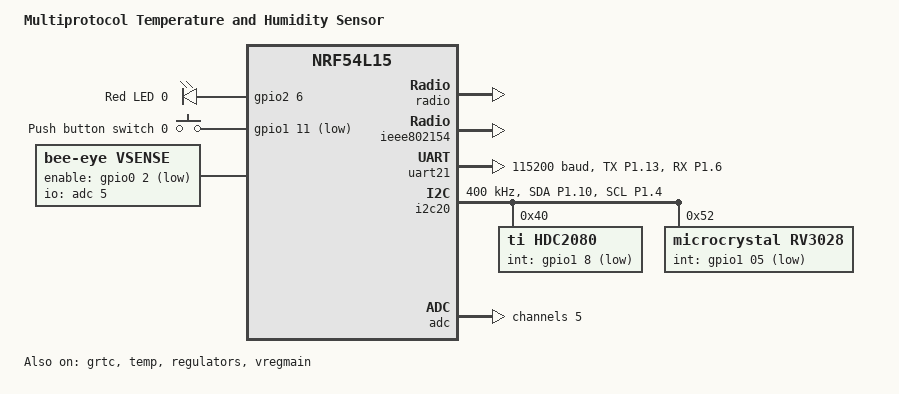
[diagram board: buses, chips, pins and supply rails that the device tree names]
/dts-v1/;
#include <nordic/nrf54l15_cpuapp.dtsi>
#include "MPsensor-pinctrl.dtsi"

/ {
	model = "Multiprotocol Temperature and Humidity Sensor";
	compatible = "bee-eye,MPsensor-cpuapp";

	chosen {
		zephyr,console = &uart21;
		zephyr,code-partition = &slot0_partition;
		zephyr,sram = &cpuapp_sram;
		zephyr,flash = &cpuapp_rram;
		zephyr,flash-controller = &rram_controller;
	};

	leds {
		compatible = "gpio-leds";

		led0: led_0 {
			gpios = <&gpio2 6 GPIO_ACTIVE_HIGH>;
			label = "Red LED 0";
		};
	};

	buttons {
		compatible = "gpio-keys";

		button0: button_0 {
			gpios = <&gpio1 11 GPIO_ACTIVE_LOW>; // External pull-up
			label = "Push button switch 0";
			zephyr,code = <INPUT_KEY_0>;
		};
	};

	vsense: vsense {
        compatible = "bee-eye,vsense";
        enable-gpios = <&gpio0 2 GPIO_ACTIVE_LOW>;
        io-channels = <&adc 5>; /* example channel index */
        label = "VSENSE";
    };
};

&grtc {
	owned-channels = <0 1 2 3 4 5 6 7 8 9 10 11>;
	/* Channels 7-11 reserved for Zero Latency IRQs, 3-4 for FLPR */
	child-owned-channels = <3 4 7 8 9 10 11>;
	status = "okay";
};

&clock {
	status = "okay";
};

&radio {
	status = "okay";
};

&ieee802154 {
	status = "okay";
};

&temp {
	status = "okay";
};

// &gpregret1 {
// 	status = "okay";

// 	boot_mode0: boot_mode@0 {
// 		compatible = "zephyr,retention";
// 		status = "okay";
// 		reg = <0x0 0x1>;
// 	};
// };

&uart21 {
	status = "okay";
	pinctrl-0 = <&uart21_default>;
	pinctrl-1 = <&uart21_sleep>;
	pinctrl-names = "default", "sleep";
	current-speed = <115200>;
};

&hfxo {
	load-capacitors = "internal";
	load-capacitance-femtofarad = <14250>;
};

&lfxo {
	load-capacitors = "internal";
	load-capacitance-femtofarad = <4000>;
};

&cpuapp_sram {
	status = "okay";
};

&uicr {
	gpio-as-nreset;
};

&regulators {
	status = "okay";
};

&vregmain {
	status = "okay";
	regulator-initial-mode = <NRF5X_REG_MODE_DCDC>;
};

&gpio0 {
	status = "okay";
};

&gpio1 {
	status = "okay";
};

&gpio2 {
	status = "okay";
};

&gpiote20 {
	status = "okay";
};

&gpiote30 {
	status = "okay";
};

&pinctrl {
	/* I2C: i2c0 -> i2c20 */
	/omit-if-no-ref/ i2c20_default: i2c20_default {
		group1 {
			psels = <NRF_PSEL(TWIM_SDA, 1, 10)>, <NRF_PSEL(TWIM_SCL, 1, 4)>;
		};
	};

	/omit-if-no-ref/ i2c20_sleep: i2c20_sleep {
		group1 {
			psels = <NRF_PSEL(TWIM_SDA, 1, 10)>, <NRF_PSEL(TWIM_SCL, 1, 4)>;
			low-power-enable;
		};
	};

	/omit-if-no-ref/ uart21_default: uart21_default {
		group1 {
			psels = <NRF_PSEL(UART_TX, 1, 13)>, <NRF_PSEL(UART_RX, 1, 6)>;
		};
	};

	/omit-if-no-ref/ uart21_sleep: uart21_sleep {
		group1 {
			psels = <NRF_PSEL(UART_TX, 1, 13)>, <NRF_PSEL(UART_RX, 1, 6)>;
			low-power-enable;
		};
	};
};

&i2c20 {
    status = "okay";
	pinctrl-0 = <&i2c20_default>;
    pinctrl-1 = <&i2c20_sleep>;
    pinctrl-names = "default", "sleep";
    clock-frequency = <I2C_BITRATE_FAST>;  

    /* HDC2080 temperature & humidity sensor */
    hdc2080: hdc2080@40 {
		status = "okay";
        compatible = "ti,hdc2080";
        reg = <0x40>;
        int-gpios = <&gpio1 8 (GPIO_PULL_UP | GPIO_ACTIVE_LOW)>;
        label = "HDC2080";		
    };

    /* RV-3028-C7 real-time clock */
    rv3028: rv3028@52 {
		status = "okay";
        compatible = "microcrystal,rv3028";
        reg = <0x52>;
        int-gpios = <&gpio1 05 (GPIO_PULL_UP | GPIO_ACTIVE_LOW)>;
        label = "RV3028";
		backup-switch-mode = "disabled";
    };
};

&adc {
    status = "okay";
	#address-cells = <1>;
    #size-cells = <0>;

    channel@5 {
        reg = <5>;                               /* channel index */
        zephyr,gain = "ADC_GAIN_1";                  /* choose what you need */
        zephyr,reference = "ADC_REF_INTERNAL";            /* 0.6V ref */
        zephyr,acquisition-time = <ADC_ACQ_TIME_DEFAULT>;
        zephyr,input-positive = <NRF_SAADC_AIN5>;
        zephyr,resolution = <14>;                 /* 14-bit recommended */
    };
};



#include "partition.dtsi"


